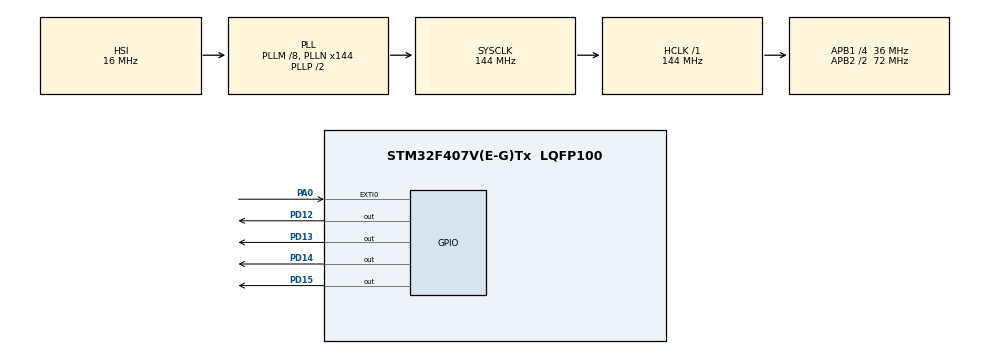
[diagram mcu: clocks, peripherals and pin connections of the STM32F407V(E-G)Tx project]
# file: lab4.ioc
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Mcu.Family=STM32F4
Mcu.Name=STM32F407V(E-G)Tx
Mcu.Package=LQFP100
NVIC.EXTI0_IRQn=true\:0\:0\:false\:false\:true\:true\:true\:true
NVIC.PriorityGroup=NVIC_PRIORITYGROUP_4
NVIC.TIM3_IRQn=true\:0\:0\:false\:false\:true\:true\:true\:true
PA0-WKUP.GPIO_ModeDefaultEXTI=GPIO_MODE_IT_RISING_FALLING
PA0-WKUP.Signal=GPXTI0
PA13.Mode=Serial_Wire
PA13.Signal=SYS_JTMS-SWDIO
PA14.Mode=Serial_Wire
PA14.Signal=SYS_JTCK-SWCLK
PD12.Signal=GPIO_Output
PD13.Signal=GPIO_Output
PD14.Signal=GPIO_Output
PD15.Signal=GPIO_Output
ProjectManager.HeapSize=0x200
ProjectManager.StackSize=0x400
ProjectManager.TargetToolchain=STM32CubeIDE
RCC.48MHZClocksFreq_Value=72000000
RCC.AHBFreq_Value=144000000
RCC.APB1CLKDivider=RCC_HCLK_DIV4
RCC.APB1Freq_Value=36000000
RCC.APB1TimFreq_Value=72000000
RCC.APB2CLKDivider=RCC_HCLK_DIV2
RCC.APB2Freq_Value=72000000
RCC.APB2TimFreq_Value=144000000
RCC.CortexFreq_Value=144000000
RCC.HCLKFreq_Value=144000000
RCC.HSE_VALUE=25000000
RCC.HSI_VALUE=16000000
RCC.LSE_VALUE=32768
RCC.PLLM=8
RCC.PLLN=144
RCC.SYSCLKFreq_VALUE=144000000
RCC.SYSCLKSource=RCC_SYSCLKSOURCE_PLLCLK
RCC.VCOOutputFreq_Value=288000000
TIM3.Period=1000-1
TIM3.Prescaler=72-1
VP_TIM3_VS_ClockSourceINT.Mode=Internal
board=custom

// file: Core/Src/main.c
/* USER CODE BEGIN Header */
/**
  ******************************************************************************
  * @file           : main.c
  * @brief          : Main program body
  ******************************************************************************
  * @attention
  *
  * Copyright (c) 2026 STMicroelectronics.
  * All rights reserved.
  *
  * This software is licensed under terms that can be found in the LICENSE file
  * in the root directory of this software component.
  * If no LICENSE file comes with this software, it is provided AS-IS.
  *
  ******************************************************************************
  */
/* USER CODE END Header */
#include "main.h"
#include "tim.h"
#include "gpio.h"

/* USER CODE BEGIN PV */
volatile uint32_t current_time = 0;
uint32_t previous_time = 0;
uint8_t led_queue = 1;
uint8_t button_state = 0;
uint32_t button_press_time = 0;
/* USER CODE END PV */

void SystemClock_Config(void);
/* USER CODE BEGIN PFP */
void Handle_LEDs(void);
/* USER CODE END PFP */

int main(void)
{

  /* MCU Configuration--------------------------------------------------------*/

  /* Reset of all peripherals, Initializes the Flash interface and the Systick. */
  HAL_Init();

  /* Configure the system clock */
  SystemClock_Config();

  /* Initialize all configured peripherals */
  MX_GPIO_Init();
  MX_TIM3_Init();
  /* USER CODE BEGIN 2 */
  HAL_TIM_Base_Start_IT(&htim3);
  /* USER CODE END 2 */

  /* Infinite loop */
  while (1)
  {
	  if ((current_time - previous_time) >= 1000) {
	      previous_time = current_time;
	      Handle_LEDs();
	  }
  }
}

void SystemClock_Config(void)
{
  RCC_OscInitTypeDef RCC_OscInitStruct = {0};
  RCC_ClkInitTypeDef RCC_ClkInitStruct = {0};

  /** Configure the main internal regulator output voltage
  */
  __HAL_RCC_PWR_CLK_ENABLE();
  __HAL_PWR_VOLTAGESCALING_CONFIG(PWR_REGULATOR_VOLTAGE_SCALE1);

  /** Initializes the RCC Oscillators according to the specified parameters
  * in the RCC_OscInitTypeDef structure.
  */
  RCC_OscInitStruct.OscillatorType = RCC_OSCILLATORTYPE_HSI;
  RCC_OscInitStruct.HSIState = RCC_HSI_ON;
  RCC_OscInitStruct.HSICalibrationValue = RCC_HSICALIBRATION_DEFAULT;
  RCC_OscInitStruct.PLL.PLLState = RCC_PLL_ON;
  RCC_OscInitStruct.PLL.PLLSource = RCC_PLLSOURCE_HSI;
  RCC_OscInitStruct.PLL.PLLM = 8;
  RCC_OscInitStruct.PLL.PLLN = 144;
  RCC_OscInitStruct.PLL.PLLP = RCC_PLLP_DIV2;
  RCC_OscInitStruct.PLL.PLLQ = 4;
  if (HAL_RCC_OscConfig(&RCC_OscInitStruct) != HAL_OK)
  {
    Error_Handler();
  }

  /** Initializes the CPU, AHB and APB buses clocks
  */
  RCC_ClkInitStruct.ClockType = RCC_CLOCKTYPE_HCLK|RCC_CLOCKTYPE_SYSCLK
                              |RCC_CLOCKTYPE_PCLK1|RCC_CLOCKTYPE_PCLK2;
  RCC_ClkInitStruct.SYSCLKSource = RCC_SYSCLKSOURCE_PLLCLK;
  RCC_ClkInitStruct.AHBCLKDivider = RCC_SYSCLK_DIV1;
  RCC_ClkInitStruct.APB1CLKDivider = RCC_HCLK_DIV4;
  RCC_ClkInitStruct.APB2CLKDivider = RCC_HCLK_DIV2;

  if (HAL_RCC_ClockConfig(&RCC_ClkInitStruct, FLASH_LATENCY_4) != HAL_OK)
  {
    Error_Handler();
  }
}

/* USER CODE BEGIN 4 */
void Handle_LEDs(void) {
    HAL_GPIO_WritePin(GPIOD, GPIO_PIN_12 | GPIO_PIN_13 | GPIO_PIN_15, GPIO_PIN_RESET);

    switch(led_queue) {
        case 1:
            HAL_GPIO_WritePin(GPIOD, GPIO_PIN_13, GPIO_PIN_SET); // 1. Помаранчевий
            led_queue++;
            break;
        case 2:
            HAL_GPIO_WritePin(GPIOD, GPIO_PIN_12, GPIO_PIN_SET); // 2. Зелений
            led_queue++;
            break;
        case 3:
            HAL_GPIO_WritePin(GPIOD, GPIO_PIN_15, GPIO_PIN_SET); // 3. Синій
            led_queue = 1;
            break;
        default:
            led_queue = 1;
            break;
    }
}

void HAL_TIM_PeriodElapsedCallback(TIM_HandleTypeDef *htim) {
    if (htim->Instance == TIM3) {
        current_time++;
    }
}

void HAL_GPIO_EXTI_Callback(uint16_t GPIO_Pin) {
    if (GPIO_Pin == GPIO_PIN_0) {
        if (button_state != 1) {
            Handle_LEDs();
            previous_time = current_time;
            button_state = 1;
            button_press_time = current_time;
        }else {
            if (current_time > (button_press_time + 100)) {
                button_state = 0;
                button_press_time = 0;
            }
        }
    }
}
/* USER CODE END 4 */

void Error_Handler(void)
{
  __disable_irq();
  while (1)
  {
  }
}
